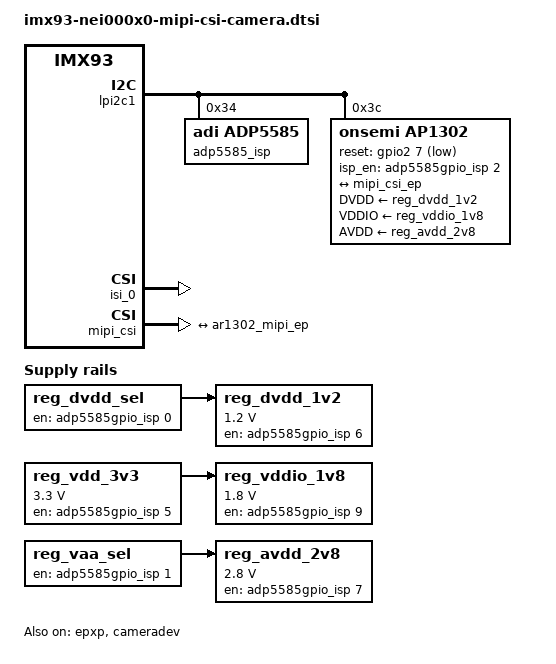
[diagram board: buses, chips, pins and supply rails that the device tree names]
// SPDX-License-Identifier: (GPL-2.0+ OR MIT)
/*
 * Copyright 2022 NXP
 */

#include <dt-bindings/pwm/pwm.h>

/ {

	reg_dvdd_sel: regulator-dvdd_sel {
        compatible = "regulator-fixed";
        regulator-name = "DVDD_SEL";
        gpio = <&adp5585gpio_isp 0 GPIO_ACTIVE_HIGH>;
        enable-active-high;
        startup-delay-us = <2000>;
	};

	reg_dvdd_1v2: regulator-dvdd {
        compatible = "regulator-fixed";
        regulator-name = "DVDD_1V2";
        gpio = <&adp5585gpio_isp 6 GPIO_ACTIVE_HIGH>;
        regulator-min-microvolt = <1200000>;
        regulator-max-microvolt = <1200000>;
        enable-active-high;
        vin-supply = <&reg_dvdd_sel>;
	};

	reg_vdd_3v3: regulator-vdd {
        compatible = "regulator-fixed";
        regulator-name = "VDD_3V3";
        gpio = <&adp5585gpio_isp 5 GPIO_ACTIVE_HIGH>;
        regulator-min-microvolt = <3300000>;
        regulator-max-microvolt = <3300000>;
        startup-delay-us = <4000>;
        enable-active-high;
	};
	
	reg_vddio_1v8: regulator-vddo {
        compatible = "regulator-fixed";
        regulator-name = "VDDIO_1V8";
        gpio = <&adp5585gpio_isp 9 GPIO_ACTIVE_HIGH>;
        regulator-min-microvolt = <1800000>;
        regulator-max-microvolt = <1800000>;
        startup-delay-us = <4000>;
        enable-active-high;
        vin-supply = <&reg_vdd_3v3>;
	};

	reg_vaa_sel: regulator-vaa_sel {
        compatible = "regulator-fixed";
        regulator-name = "VAA_SEL";
        gpio = <&adp5585gpio_isp 1 GPIO_ACTIVE_HIGH>;
        enable-active-high;
	};

	reg_avdd_2v8: regulator-avdd {
        compatible = "regulator-fixed";
        regulator-name = "AVDD_2V8";
        gpio = <&adp5585gpio_isp 7 GPIO_ACTIVE_HIGH>;
        regulator-min-microvolt = <2800000>;
        regulator-max-microvolt = <2800000>;
        enable-active-high;
        vin-supply = <&reg_vaa_sel>;
	};

};

//=============================================================================
//=== I2C1
//=============================================================================
&lpi2c1 {
	status = "okay";

	adp5585_isp: mfd-isp@34 {	// gpio expander
		compatible = "adi,adp5585";
		reg = <0x34>;
		status = "okay";
		
		adp5585gpio_isp: gpio-isp@34 {
			compatible = "adp5585-gpio";
			gpio-controller;
			#gpio-cells = <2>;
		};
		
		adp5585pwm_isp: pwm-isp@34 {
			compatible = "adp5585-pwm";
			#pwm-cells = <3>;
		};
	};
	
	ap1302: ap1302_mipi@3c {	// isp
		compatible = "onsemi,ap1302";
		reg = <0x3c>;
		pinctrl-names = "default";
		pinctrl-0 = <&pinctrl_ap1302>;
		reset-gpios = <&gpio2 7 GPIO_ACTIVE_LOW>;
		isp_en-gpios = <&adp5585gpio_isp 2 GPIO_ACTIVE_HIGH>;
		DVDD-supply = <&reg_dvdd_1v2>;
		VDDIO-supply = <&reg_vddio_1v8>;
		AVDD-supply = <&reg_avdd_2v8>;
		status = "okay";
                
		port {
			ar1302_mipi_ep: endpoint {
				remote-endpoint = <&mipi_csi_ep>;
			};
		};
	};
};

//=============================================================================
//=== CAMERA
//=============================================================================
&epxp {
	status = "okay";
};

&cameradev {
	status = "okay";
};

&isi_0 {
	status = "okay";

	cap_device {
		status = "okay";
	};
};

&mipi_csi {
	status = "okay";

	port {
		mipi_csi_ep: endpoint {
			remote-endpoint = <&ar1302_mipi_ep>;
			data-lanes = <2>;
			cfg-clk-range = <28>;
			hs-clk-range = <0x2b>;
			bus-type = <4>;
		};
	};
};



//=============================================================================
//#############################################################################
//=== PINMUX
//#############################################################################
//=============================================================================
&iomuxc {
	pinctrl-names = "default";
	
	pinctrl_ap1302: regap1302grp {
		fsl,pins = <
			MX93_PAD_GPIO_IO07__GPIO2_IO07								0x31e
		>;
	};

};
